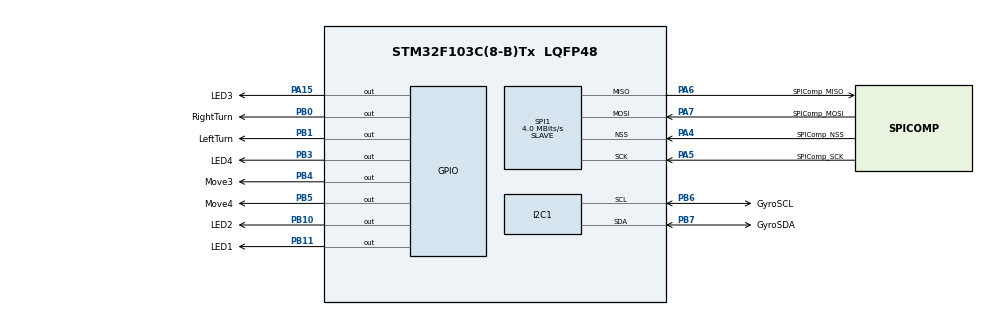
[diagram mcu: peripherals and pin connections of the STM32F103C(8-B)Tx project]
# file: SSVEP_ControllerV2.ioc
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FREERTOS.Tasks01=LED1Blink,24,65,StartLED1Blink,Default,NULL,Dynamic,NULL,NULL;LED2Blink,8,65,StartLED2Blink,Default,NULL,Dynamic,NULL,NULL;LED3Blink,8,65,StartLED3Blink,Default,NULL,Dynamic,NULL,NULL;LED4Blink,8,65,StartLED4Blink,Default,NULL,Dynamic,NULL,NULL;GyroCom,8,124,StartGyroCom,Default,NULL,Dynamic,NULL,NULL;SPI_Com,8,124,StartSPI_Com,Default,NULL,Dynamic,NULL,NULL
FREERTOS.configMINIMAL_STACK_SIZE=65
Mcu.Family=STM32F1
Mcu.Name=STM32F103C(8-B)Tx
Mcu.Package=LQFP48
NVIC.PriorityGroup=NVIC_PRIORITYGROUP_4
NVIC.TIM2_IRQn=true\:0\:0\:false\:false\:true\:false\:false\:true
NVIC.TimeBase=TIM2_IRQn
NVIC.TimeBaseIP=TIM2
PA13.Mode=Serial_Wire
PA13.Signal=SYS_JTMS-SWDIO
PA14.Mode=Serial_Wire
PA14.Signal=SYS_JTCK-SWCLK
PA15.GPIO_Label=LED3
PA15.Signal=GPIO_Output
PA4.GPIO_Label=SPIComp_NSS
PA4.Mode=NSS_Signal_Hard_Input
PA4.Signal=SPI1_NSS
PA5.GPIO_Label=SPIComp_SCK
PA5.Mode=Full_Duplex_Slave
PA5.Signal=SPI1_SCK
PA6.GPIO_Label=SPIComp_MISO
PA6.Mode=Full_Duplex_Slave
PA6.Signal=SPI1_MISO
PA7.GPIO_Label=SPIComp_MOSI
PA7.Mode=Full_Duplex_Slave
PA7.Signal=SPI1_MOSI
PB0.GPIO_Label=RightTurn
PB0.Signal=GPIO_Output
PB1.GPIO_Label=LeftTurn
PB1.Signal=GPIO_Output
PB10.GPIO_Label=LED2
PB10.Signal=GPIO_Output
PB11.GPIO_Label=LED1
PB11.Signal=GPIO_Output
PB3.GPIO_Label=LED4
PB3.Signal=GPIO_Output
PB4.GPIO_Label=Move3
PB4.Signal=GPIO_Output
PB5.GPIO_Label=Move4
PB5.Signal=GPIO_Output
PB6.GPIO_Label=GyroSCL
PB6.Mode=I2C
PB6.Signal=I2C1_SCL
PB7.GPIO_Label=GyroSDA
PB7.Mode=I2C
PB7.Signal=I2C1_SDA
ProjectManager.HeapSize=0x200
ProjectManager.StackSize=0x400
ProjectManager.TargetToolchain=MDK-ARM V5.27
RCC.APB1Freq_Value=8000000
RCC.APB2Freq_Value=8000000
SPI1.CalculateBaudRate=4.0 MBits/s
SPI1.Direction=SPI_DIRECTION_2LINES
SPI1.Mode=SPI_MODE_SLAVE
SPI1.VirtualNSS=VM_NSSHARD
SPI1.VirtualType=VM_SLAVE
VP_FREERTOS_VS_CMSIS_V2.Mode=CMSIS_V2
VP_SYS_VS_tim2.Mode=TIM2
board=custom

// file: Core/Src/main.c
/* USER CODE BEGIN Header */
/**
  ******************************************************************************
  * @file           : main.c
  * @brief          : Main program body
  ******************************************************************************
  * @attention
  *
  * <h2><center>&copy; Copyright (c) 2020 STMicroelectronics.
  * All rights reserved.</center></h2>
  *
  * This software component is licensed by ST under Ultimate Liberty license
  * SLA0044, the "License"; You may not use this file except in compliance with
  * the License. You may obtain a copy of the License at:
  *                             www.st.com/SLA0044
  *
  ******************************************************************************
  */
/* USER CODE END Header */
#include "main.h"
#include "cmsis_os.h"

/* USER CODE BEGIN Includes */
#include "stdio.h"
#include "stdint.h"
/* USER CODE END Includes */

I2C_HandleTypeDef hi2c1;
SPI_HandleTypeDef hspi1;

// Global variables for light frequencies
uint8_t lightFreqHz1 = 1;
uint8_t lightFreqHz2 = 3;
uint8_t lightFreqHz3 = 2;
uint8_t lightFreqHz4 = 1;
/* For floating point
float lightFreqHz1 = 1;
float lightFreqHz2 = 2;
float lightFreqHz3 = 3;
float lightFreqHz4 = 4;
*/

// Initialize buffer variables to store SPI received data
uint8_t instrReceiv;
uint8_t LEDinfo[4];

// Global delay variable for pulse length of move command [ms]
uint32_t movePulseDelay = 5;

/* Definitions for LED1Blink */
osThreadId_t LED1BlinkHandle;
const osThreadAttr_t LED1Blink_attributes = {
  .name = "LED1Blink",
  .priority = (osPriority_t) osPriorityNormal,
  .stack_size = 80 * 4
};
/* Definitions for LED2Blink */
osThreadId_t LED2BlinkHandle;
const osThreadAttr_t LED2Blink_attributes = {
  .name = "LED2Blink",
  .priority = (osPriority_t) osPriorityLow,
  .stack_size = 80 * 4
};
/* Definitions for LED3Blink */
osThreadId_t LED3BlinkHandle;
const osThreadAttr_t LED3Blink_attributes = {
  .name = "LED3Blink",
  .priority = (osPriority_t) osPriorityLow,
  .stack_size = 80 * 4
};
/* Definitions for LED4Blink */
osThreadId_t LED4BlinkHandle;
const osThreadAttr_t LED4Blink_attributes = {
  .name = "LED4Blink",
  .priority = (osPriority_t) osPriorityLow,
  .stack_size = 80 * 4
};
/* Definitions for GyroCom */
osThreadId_t GyroComHandle;
const osThreadAttr_t GyroCom_attributes = {
  .name = "GyroCom",
  .priority = (osPriority_t) osPriorityLow,
  .stack_size = 124 * 4
};
/* Definitions for SPI_Com */
osThreadId_t SPI_ComHandle;
const osThreadAttr_t SPI_Com_attributes = {
  .name = "SPI_Com",
  .priority = (osPriority_t) osPriorityLow,
  .stack_size = 140 * 4
};
/* USER CODE BEGIN PV */
// Surface SPI User Made Instructions (even parity)
//1. Write the LED frequencies
const uint8_t WriteLEDFreq_instr = 0x55;
//2. Assert a movement command, read if movement was successfull
const uint8_t AssertLeft_instr = 0x65;
const uint8_t AssertRight_instr = 0x66;
const uint8_t AssertMove3_instr = 0x69;
const uint8_t AssertMove4_instr = 0x6A;
//3. Commands send by MCU to indicate if movement was sent to wheelchair
const uint8_t AckYes = 0x95;
const uint8_t AckNo = 0x96;
/* USER CODE END PV */

void SystemClock_Config(void);
static void MX_GPIO_Init(void);
static void MX_I2C1_Init(void);
static void MX_SPI1_Init(void);
void StartLED1Blink(void *argument);
void StartLED2Blink(void *argument);
void StartLED3Blink(void *argument);
void StartLED4Blink(void *argument);
void StartGyroCom(void *argument);
void StartSPI_Com(void *argument);

int main(void)
{

  /* MCU Configuration--------------------------------------------------------*/

  /* Reset of all peripherals, Initializes the Flash interface and the Systick. */
  HAL_Init();

  /* Configure the system clock */
  SystemClock_Config();

  /* Initialize all configured peripherals */
  MX_GPIO_Init();
  MX_I2C1_Init();
  MX_SPI1_Init();

  /* Init scheduler */
  osKernelInitialize();

  /* Create the thread(s) */
  /* creation of LED1Blink */
  LED1BlinkHandle = osThreadNew(StartLED1Blink, NULL, &LED1Blink_attributes);

  /* creation of LED2Blink */
  LED2BlinkHandle = osThreadNew(StartLED2Blink, NULL, &LED2Blink_attributes);

  /* creation of LED3Blink */
  LED3BlinkHandle = osThreadNew(StartLED3Blink, NULL, &LED3Blink_attributes);

  /* creation of LED4Blink */
  LED4BlinkHandle = osThreadNew(StartLED4Blink, NULL, &LED4Blink_attributes);

  /* creation of GyroCom */
  GyroComHandle = osThreadNew(StartGyroCom, NULL, &GyroCom_attributes);

  /* creation of SPI_Com */
  SPI_ComHandle = osThreadNew(StartSPI_Com, NULL, &SPI_Com_attributes);

  /* Start scheduler */
  osKernelStart();

  /* We should never get here as control is now taken by the scheduler */
  /* Infinite loop */
  while (1)
  {

  }
}

void SystemClock_Config(void)
{
  RCC_OscInitTypeDef RCC_OscInitStruct = {0};
  RCC_ClkInitTypeDef RCC_ClkInitStruct = {0};

  /** Initializes the RCC Oscillators according to the specified parameters
  * in the RCC_OscInitTypeDef structure.
  */
  RCC_OscInitStruct.OscillatorType = RCC_OSCILLATORTYPE_HSI;
  RCC_OscInitStruct.HSIState = RCC_HSI_ON;
  RCC_OscInitStruct.HSICalibrationValue = RCC_HSICALIBRATION_DEFAULT;
  RCC_OscInitStruct.PLL.PLLState = RCC_PLL_NONE;
  if (HAL_RCC_OscConfig(&RCC_OscInitStruct) != HAL_OK)
  {
    Error_Handler();
  }
  /** Initializes the CPU, AHB and APB buses clocks
  */
  RCC_ClkInitStruct.ClockType = RCC_CLOCKTYPE_HCLK|RCC_CLOCKTYPE_SYSCLK
                              |RCC_CLOCKTYPE_PCLK1|RCC_CLOCKTYPE_PCLK2;
  RCC_ClkInitStruct.SYSCLKSource = RCC_SYSCLKSOURCE_HSI;
  RCC_ClkInitStruct.AHBCLKDivider = RCC_SYSCLK_DIV1;
  RCC_ClkInitStruct.APB1CLKDivider = RCC_HCLK_DIV1;
  RCC_ClkInitStruct.APB2CLKDivider = RCC_HCLK_DIV1;

  if (HAL_RCC_ClockConfig(&RCC_ClkInitStruct, FLASH_LATENCY_0) != HAL_OK)
  {
    Error_Handler();
  }
}

static void MX_I2C1_Init(void)
{

  hi2c1.Instance = I2C1;
  hi2c1.Init.ClockSpeed = 100000;
  hi2c1.Init.DutyCycle = I2C_DUTYCYCLE_2;
  hi2c1.Init.OwnAddress1 = 0;
  hi2c1.Init.AddressingMode = I2C_ADDRESSINGMODE_7BIT;
  hi2c1.Init.DualAddressMode = I2C_DUALADDRESS_DISABLE;
  hi2c1.Init.OwnAddress2 = 0;
  hi2c1.Init.GeneralCallMode = I2C_GENERALCALL_DISABLE;
  hi2c1.Init.NoStretchMode = I2C_NOSTRETCH_DISABLE;
  if (HAL_I2C_Init(&hi2c1) != HAL_OK)
  {
    Error_Handler();
  }

}

static void MX_SPI1_Init(void)
{

  /* SPI1 parameter configuration*/
  hspi1.Instance = SPI1;
  hspi1.Init.Mode = SPI_MODE_SLAVE;
  hspi1.Init.Direction = SPI_DIRECTION_2LINES;
  hspi1.Init.DataSize = SPI_DATASIZE_8BIT;
  hspi1.Init.CLKPolarity = SPI_POLARITY_LOW;
  hspi1.Init.CLKPhase = SPI_PHASE_1EDGE;
  hspi1.Init.NSS = SPI_NSS_HARD_INPUT;
  hspi1.Init.BaudRatePrescaler = SPI_BAUDRATEPRESCALER_2;
  hspi1.Init.FirstBit = SPI_FIRSTBIT_MSB;
  hspi1.Init.TIMode = SPI_TIMODE_DISABLE;
  hspi1.Init.CRCCalculation = SPI_CRCCALCULATION_DISABLE;
  hspi1.Init.CRCPolynomial = 10;
  if (HAL_SPI_Init(&hspi1) != HAL_OK)
  {
    Error_Handler();
  }

}

static void MX_GPIO_Init(void)
{
  GPIO_InitTypeDef GPIO_InitStruct = {0};

  /* GPIO Ports Clock Enable */
  __HAL_RCC_GPIOA_CLK_ENABLE();
  __HAL_RCC_GPIOB_CLK_ENABLE();

  /*Configure GPIO pin Output Level */
  HAL_GPIO_WritePin(GPIOB, RightTurn_Pin|LeftTurn_Pin|LED2_Pin|LED1_Pin
                          |LED4_Pin|Move3_Pin|Move4_Pin, GPIO_PIN_RESET);

  /*Configure GPIO pin Output Level */
  HAL_GPIO_WritePin(LED3_GPIO_Port, LED3_Pin, GPIO_PIN_RESET);

  /*Configure GPIO pins : RightTurn_Pin LeftTurn_Pin LED2_Pin LED1_Pin
                           LED4_Pin Move3_Pin Move4_Pin */
  GPIO_InitStruct.Pin = RightTurn_Pin|LeftTurn_Pin|LED2_Pin|LED1_Pin
                          |LED4_Pin|Move3_Pin|Move4_Pin;
  GPIO_InitStruct.Mode = GPIO_MODE_OUTPUT_PP;
  GPIO_InitStruct.Pull = GPIO_NOPULL;
  GPIO_InitStruct.Speed = GPIO_SPEED_FREQ_LOW;
  HAL_GPIO_Init(GPIOB, &GPIO_InitStruct);

  /*Configure GPIO pin : LED3_Pin */
  GPIO_InitStruct.Pin = LED3_Pin;
  GPIO_InitStruct.Mode = GPIO_MODE_OUTPUT_PP;
  GPIO_InitStruct.Pull = GPIO_NOPULL;
  GPIO_InitStruct.Speed = GPIO_SPEED_FREQ_LOW;
  HAL_GPIO_Init(LED3_GPIO_Port, &GPIO_InitStruct);

}

void StartLED1Blink(void *argument)
{
  /* USER CODE BEGIN 5 */
  /* Infinite loop */
  for(;;)
  {
		// Toggle LED1
		HAL_GPIO_TogglePin(LED1_GPIO_Port,LED1_Pin);
    osDelay((1/lightFreqHz1)*500);
  }
  // Cleanup in case we exit task loop above
	osThreadTerminate(NULL);
  /* USER CODE END 5 */
}

void StartLED2Blink(void *argument)
{
  /* USER CODE BEGIN StartLED2Blink */
  /* Infinite loop */
  for(;;)
  {
		HAL_GPIO_TogglePin(LED2_GPIO_Port,LED2_Pin);
    osDelay((1/lightFreqHz2)*500);
  }
	// Cleanup in case we exit task loop above
	osThreadTerminate(NULL);
  /* USER CODE END StartLED2Blink */
}

void StartLED3Blink(void *argument)
{
  /* USER CODE BEGIN StartLED3Blink */
  /* Infinite loop */
  for(;;)
  {
		HAL_GPIO_TogglePin(LED3_GPIO_Port,LED3_Pin);
		osDelay((1/lightFreqHz3)*500);
  }
	// Cleanup in case we exit task loop above
	osThreadTerminate(NULL);
  /* USER CODE END StartLED3Blink */
}

void StartLED4Blink(void *argument)
{
  /* USER CODE BEGIN StartLED4Blink */
  /* Infinite loop */
  for(;;)
  {
		HAL_GPIO_TogglePin(LED4_GPIO_Port,LED4_Pin);
		osDelay((1/lightFreqHz4)*500);
  }
	// Cleanup in case we exit task loop above
	osThreadTerminate(NULL);
  /* USER CODE END StartLED4Blink */
}

void StartGyroCom(void *argument)
{
  for(;;)
  {
    osDelay(1);
  }
}

void StartSPI_Com(void *argument)
{
  /* USER CODE BEGIN StartSPI_Com */
  /* Infinite loop */
  for(;;)
  {
        // Wait to receive instruction
		HAL_SPI_Receive(&hspi1,&instrReceiv,1,HAL_MAX_DELAY);

		// Execute response depending on instruction sent
		switch(instrReceiv)
		{
				case AssertLeft_instr:
				/* In future check to see if moving through Gyro, only move
				if chair is stationary, send ackYes or ackNo depending on whether
				the chair moved	*/

				// Transmit that you are initiating the turn
				HAL_SPI_Transmit(&hspi1,(uint8_t *)&AckYes,1,HAL_MAX_DELAY);
				// Toggle the left turn pin on for movePulseDelay
				HAL_GPIO_WritePin(LeftTurn_GPIO_Port,LeftTurn_Pin,GPIO_PIN_SET);
				HAL_Delay(movePulseDelay);
				HAL_GPIO_WritePin(LeftTurn_GPIO_Port,LeftTurn_Pin,GPIO_PIN_RESET);
				break;
			case AssertRight_instr:
				/* In future check to see if moving through Gyro, only move
				if chair is stationary, send ackYes or ackNo depending on whether
				the chair moved	*/

				// Transmit that you are initiating the turn
				HAL_SPI_Transmit(&hspi1,(uint8_t *)&AckYes,1,HAL_MAX_DELAY);
				// Toggle the left turn pin on for movePulseDelay
				HAL_GPIO_WritePin(RightTurn_GPIO_Port,RightTurn_Pin,GPIO_PIN_SET);
				HAL_Delay(movePulseDelay);
				HAL_GPIO_WritePin(RightTurn_GPIO_Port,RightTurn_Pin,GPIO_PIN_RESET);
				break;
			case AssertMove3_instr:
				/* In future check to see if moving through Gyro, only move
				if chair is stationary, send ackYes or ackNo depending on whether
				the chair moved	*/

				// Transmit that you are initiating the movement
				HAL_SPI_Transmit(&hspi1,(uint8_t *)&AckYes,1,HAL_MAX_DELAY);
				// Toggle the left turn pin on for movePulseDelay
				HAL_GPIO_WritePin(Move3_GPIO_Port,Move3_Pin,GPIO_PIN_SET);
				HAL_Delay(movePulseDelay);
				HAL_GPIO_WritePin(Move3_GPIO_Port,Move3_Pin,GPIO_PIN_RESET);
				break;
			case AssertMove4_instr:
				/* In future check to see if moving through Gyro, only move
				if chair is stationary, send ackYes or ackNo depending on whether
				the chair moved	*/

				// Transmit that you are initiating the movement
				HAL_SPI_Transmit(&hspi1,(uint8_t *)&AckYes,1,HAL_MAX_DELAY);
				// Toggle the left turn pin on for movePulseDelay
				HAL_GPIO_WritePin(Move4_GPIO_Port,Move4_Pin,GPIO_PIN_SET);
				HAL_Delay(movePulseDelay);
				HAL_GPIO_WritePin(Move4_GPIO_Port,Move4_Pin,GPIO_PIN_RESET);
				break;
			case WriteLEDFreq_instr:
				// Read the incoming data and update light frequency values
				HAL_SPI_Receive(&hspi1,LEDinfo,4,HAL_MAX_DELAY);
				lightFreqHz1 = LEDinfo[0];
				lightFreqHz2 = LEDinfo[1];
				lightFreqHz3 = LEDinfo[2];
				lightFreqHz4 = LEDinfo[3];
				break;
		}

  }
	// Cleanup in case we exit task loop above
	osThreadTerminate(NULL);
  /* USER CODE END StartSPI_Com */
}

void HAL_TIM_PeriodElapsedCallback(TIM_HandleTypeDef *htim)
{
  if (htim->Instance == TIM2) {
    HAL_IncTick();
  }
}

void Error_Handler(void)
{
}

/************************ (C) COPYRIGHT STMicroelectronics *****END OF FILE****/
